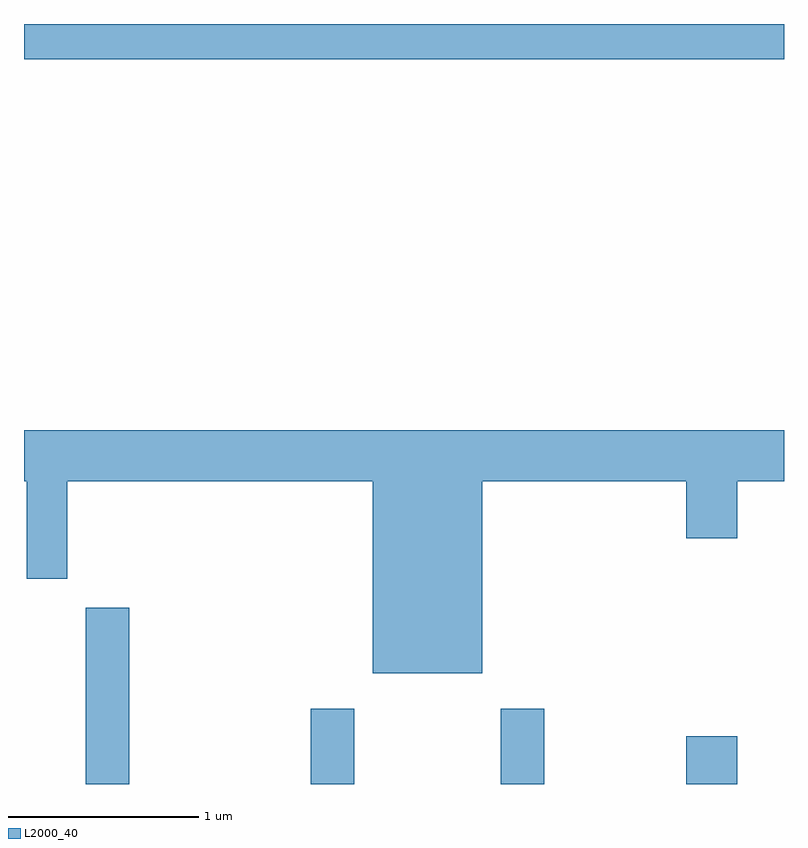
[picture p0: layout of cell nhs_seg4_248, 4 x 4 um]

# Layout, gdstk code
import gdstk
lib = gdstk.Library(unit=1e-6, precision=1e-09)
def R(c, l, rs):  # rectangles x0, y0, x1, y1
    for r in rs: c.add(gdstk.rectangle(r[:2], r[2:], *l))
def P(c, l, *ps):  # polygons
    for p in ps: c.add(gdstk.Polygon(p, *l))
L2000_40 = (2000, 40)

nhs_seg4_248 = lib.new_cell('nhs_seg4_248')
R(nhs_seg4_248, L2000_40, [(191.936,1341.982,192.164,1342.909), (193.121,1341.982,193.349,1342.379), (194.121,1341.982,194.349,1342.379), (195.096,1341.982,195.364,1342.234), (191.611,1345.796,195.611,1345.982)])
P(nhs_seg4_248, L2000_40, [(194.024,1343.576),(195.096,1343.576),(195.096,1343.276),(195.364,1343.276),(195.364,1343.576),(195.611,1343.576),(195.611,1343.844),(191.611,1343.844),(191.611,1343.576),(191.626,1343.576),(191.626,1343.061),(191.839,1343.061),(191.839,1343.576),(193.446,1343.576),(193.446,1342.566),(194.024,1342.566)])

lib.write_gds('nhs_seg4_248.gds')
